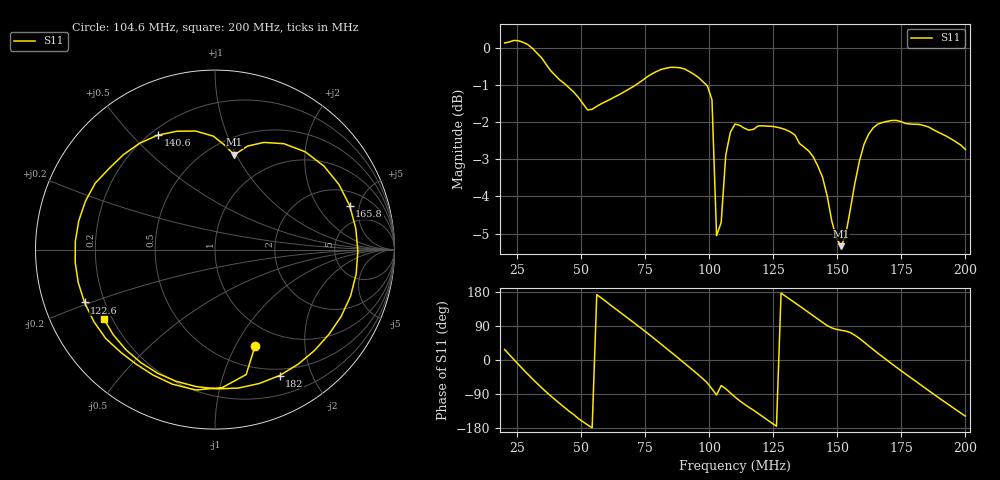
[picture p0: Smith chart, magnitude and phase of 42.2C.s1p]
# HZ S RI R 50
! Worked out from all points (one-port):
!   101 points, 20 MHz to 200 MHz, reference 50 ohm
!   lowest |S11| = -5.3 dB at 151.4 MHz (marker M1), VSWR 3.35, Z = 32.9 + j49.3 ohm
!   |S11| at or under -10 dB: nowhere
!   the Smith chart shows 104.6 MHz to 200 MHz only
!   S11 on the Smith chart (normalised r, x): 104.6 MHz: 0.74, -1.20; 122.6 MHz: 0.13, -0.19; 140.6 MHz: 0.23, +0.59; 165.8 MHz: 3.10, +4.01; 182 MHz: 0.42, -1.56; 200 MHz: 0.17, -0.28
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2e7  0.8978 0.4732
2.54e7  1.001 -0.2062
3.26e7  0.4746 -0.8618
3.8e7  -0.0749 -0.9283
4.34e7  -0.5168 -0.7306
4.88e7  -0.7742 -0.3689
5.6e7  -0.8266 0.1112
6.5e7  -0.5143 0.6964
7.58e7  0.3009 0.8635
8.3e7  0.7982 0.4933
8.84e7  0.9395 0.0309
9.38e7  0.8118 -0.4366
9.92e7  0.4349 -0.775
1.01e8  0.2017 -0.8272
1.028e8  -0.0223 -0.5583
1.046e8  0.2231 -0.5374
1.1e8  -0.1064 -0.7823
1.226e8  -0.727 -0.2944
1.334e8  -0.6677 0.3696
1.406e8  -0.3189 0.6376
1.514e8  0.1085 0.5297
1.55e8  0.1815 0.5768
1.604e8  0.5024 0.5451
1.658e8  0.7506 0.2439
1.784e8  0.5538 -0.5628
1.82e8  0.3598 -0.7016
1.91e8  -0.2149 -0.7343
2e8  -0.619 -0.3866
